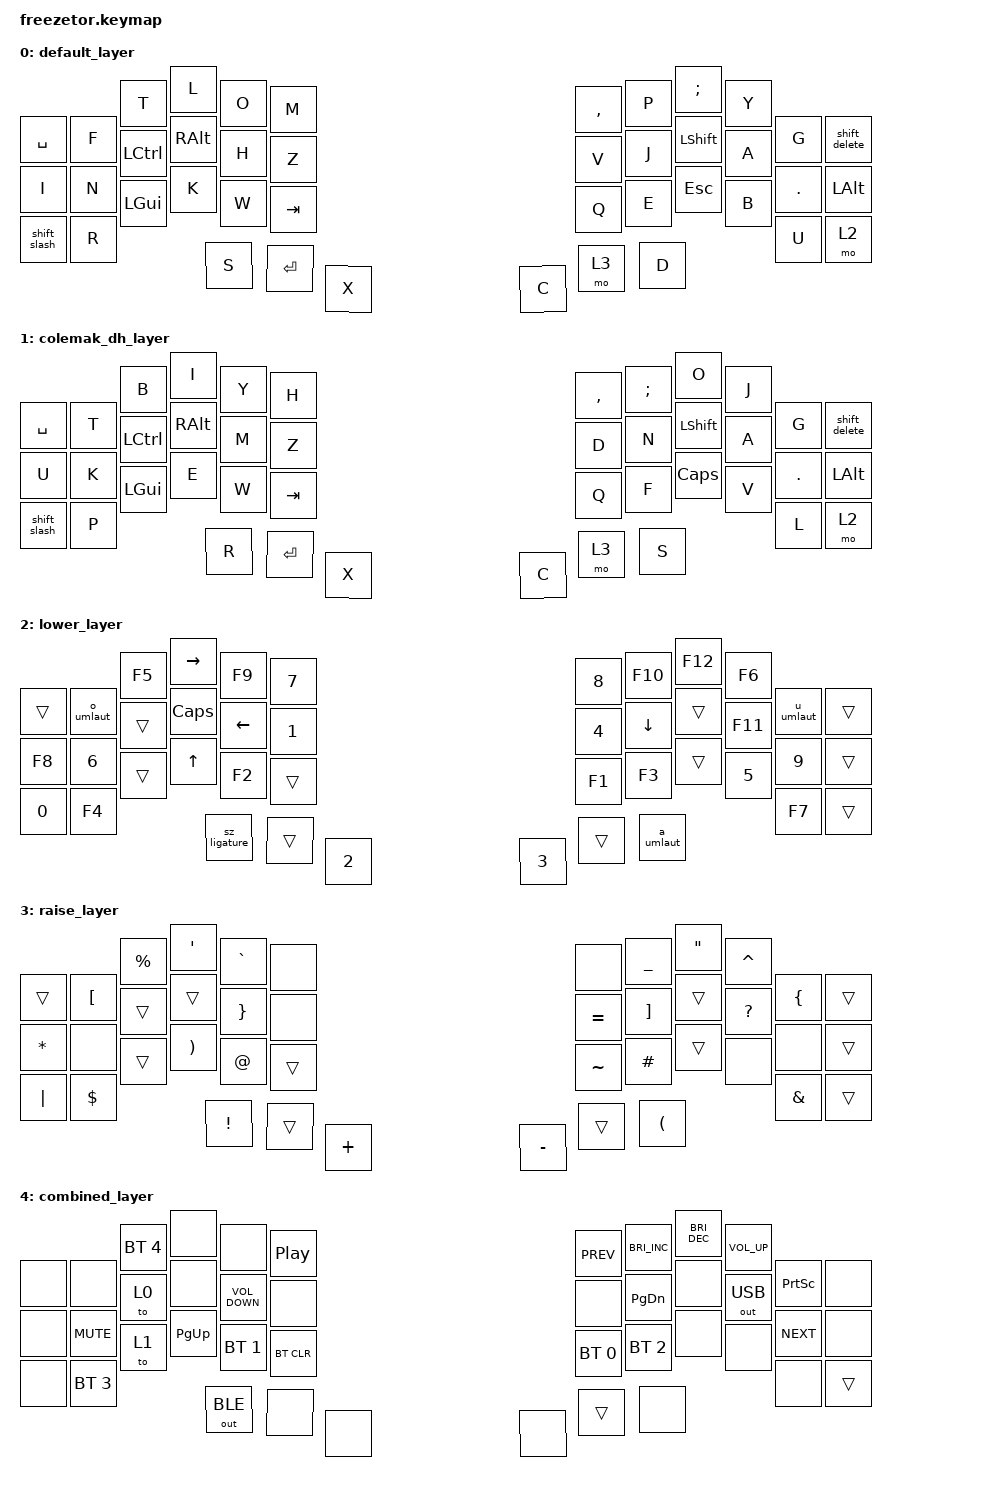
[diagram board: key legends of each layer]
/*
 * Copyright (c) 2020 The ZMK Contributors
 *
 * SPDX-License-Identifier: MIT
 */

#include <behaviors.dtsi>
#include <dt-bindings/zmk/bt.h>
#include <dt-bindings/zmk/outputs.h>
#include <dt-bindings/zmk/keys.h>

/ {

    behaviors {
        shift_delete: shift_delete {
            compatible = "zmk,behavior-mod-morph";
            label = "SHIFT_DELETE";
            bindings = <&kp BACKSPACE>, <&kp DELETE>;

            #binding-cells = <0>;
            mods = <(MOD_LSFT)>;
        };

        shift_slash: shift_slash {
            compatible = "zmk,behavior-mod-morph";
            label = "SHIFT_SLASH";
            bindings = <&kp FSLH>, <&kp BSLH>;

            #binding-cells = <0>;
            mods = <(MOD_LSFT)>;
        };
    };

    macros {
        a_umlaut: a_umlaut {
            compatible = "zmk,behavior-macro";
            label = "A_UMLAUT";
            #binding-cells = <0>;
            bindings = <&kp RA(Q)>;
        };

        u_umlaut: u_umlaut {
            compatible = "zmk,behavior-macro";
            label = "U_UMLAUT";
            #binding-cells = <0>;
            bindings = <&kp RA(Y)>;
        };

        o_umlaut: o_umlaut {
            compatible = "zmk,behavior-macro";
            label = "O_UMLAUT";
            #binding-cells = <0>;
            bindings = <&kp RA(P)>;
        };

        sz_ligature: sz_ligature {
            compatible = "zmk,behavior-macro";
            label = "SZ_LIGATURE";
            #binding-cells = <0>;
            bindings = <&kp RA(S)>;
        };
    };

    keymap {
        compatible = "zmk,keymap";

        default_layer {
            // -----------------------------------------------------------------------------------------
            // |  TAB |  Q  |  W  |  E  |  R  |  T  |   |  Y  |  U   |  I  |  O  |  P  | LALT |
            // | CTRL |  A  |  S  |  D  |  F  |  G  |   |  H  |  J   |  K  |  L  |  ;  | CAPS |
            // | GUI  |  Z  |  X  |  C  |  V  |  B  |   |  N  |  M   |  ,  |  .  |  /  | RALT |
            //                    | SHFT| LWR | SPC |   | ENT | RSE  | BSPC|

            bindings = <
&kp TAB     &kp Q  &kp W      &kp E    &kp R  &kp T          &kp Y  &kp U  &kp I      &kp O    &kp P         &kp LEFT_ALT
&kp LCTRL   &kp A  &kp S      &kp D    &kp F  &kp G          &kp H  &kp J  &kp K      &kp L    &kp SEMI      &kp ESC
&kp LGUI    &kp Z  &kp X      &kp C    &kp V  &kp B          &kp N  &kp M  &kp COMMA  &kp DOT  &shift_slash  &kp RIGHT_ALT
&kp LSHIFT  &mo 2  &kp SPACE  &kp RET  &mo 3  &shift_delete
            >;
        };

        colemak_dh_layer {
            // -----------------------------------------------------------------------------------------
            // |  TAB |  Q  |  W  |  F  |  P  |  B  |   |  J  |  L   |  U  |  Y  |  ;  | LALT |
            // | CTRL |  A  |  R  |  S  |  T  |  G  |   |  M  |  N   |  E  |  I  |  O  | CAPS |
            // | GUI  |  Z  |  X  |  C  |  D  |  V  |   |  K  |  H   |  ,  |  .  |  /  | RALT |
            //                    | SHFT| LWR | SPC |   | ENT | RSE  | BSPC|

            bindings = <
&kp TAB     &kp Q  &kp W      &kp F    &kp P  &kp B          &kp J  &kp L  &kp U      &kp Y    &kp SEMI      &kp LEFT_ALT
&kp LCTRL   &kp A  &kp R      &kp S    &kp T  &kp G          &kp M  &kp N  &kp E      &kp I    &kp O         &kp CAPS
&kp LGUI    &kp Z  &kp X      &kp C    &kp D  &kp V          &kp K  &kp H  &kp COMMA  &kp DOT  &shift_slash  &kp RIGHT_ALT
&kp LSHIFT  &mo 2  &kp SPACE  &kp RET  &mo 3  &shift_delete
            >;
        };

        lower_layer {
            // -----------------------------------------------------------------------------------------
            // |  TAB |  1  |  2  |  3  |  4  |  5  |   |  6  |  7  |  8  |  9  |  0  | BSPC |
            // | BTCLR| BT1 | BT2 | BT3 | BT4 | BT5 |   | LFT | DWN |  UP | RGT |     |      |
            // | SHFT |     |     |     |     |     |   |     |     |     |     |     |      |
            //                    | GUI |     | SPC |   | ENT |     | ALT |

            bindings = <
&trans  &kp F1   &kp F2        &kp F3     &kp F4     &kp F5     &kp F6    &kp F7    &kp F8  &kp F9     &kp F10  &trans
&trans  &kp F11  &sz_ligature  &a_umlaut  &o_umlaut  &u_umlaut  &kp LEFT  &kp DOWN  &kp UP  &kp RIGHT  &kp F12  &trans
&trans  &kp N1   &kp N2        &kp N3     &kp N4     &kp N5     &kp N6    &kp N7    &kp N8  &kp N9     &kp N0   &kp CAPSLOCK
&trans  &trans   &trans        &trans     &trans     &trans
            >;
        };

        raise_layer {
            // -----------------------------------------------------------------------------------------
            // |  TAB |  !  |  @  |  #  |  $  |  %  |   |  ^  |  &  |  *  |  (  |  )  | BSPC |
            // | CTRL |     |     |     |     |     |   |  -  |  =  |  [  |  ]  |  \  |  `   |
            // | SHFT |     |     |     |     |     |   |  _  |  +  |  {  |  }  | "|" |  ~   |
            //                    | GUI |     | SPC |   | ENT |     | ALT |

            bindings = <
&trans  &kp TILDE     &kp AT    &kp HASH              &kp DLLR          &kp PRCNT       &kp CARET        &kp AMPS           &kp ASTRK              &kp GRAVE         &kp UNDERSCORE     &trans
&trans  &kp QUESTION  &kp EXCL  &kp LEFT_PARENTHESIS  &kp LEFT_BRACKET  &kp LEFT_BRACE  &kp RIGHT_BRACE  &kp RIGHT_BRACKET  &kp RIGHT_PARENTHESIS  &kp SINGLE_QUOTE  &kp DOUBLE_QUOTES  &trans
&trans  &none         &kp PLUS  &kp MINUS             &kp EQUAL         &none           &none            &none              &none                  &none             &kp PIPE           &trans
&trans  &trans        &trans    &trans                &trans            &trans
            >;
        };

        combined_layer {
            // | BTCLR| BT0 | BT1 | BT2 | BT3 | BT4 |   | VOL+ |      |      |      | BRI+ |     |
            // | TO 0 | USB | BLE |     |     | PSCR|   | VOL- | PGDN | PGUP |     | BRI- |     |
            bindings = <
&bt BT_CLR  &bt BT_SEL 0  &bt BT_SEL 1  &bt BT_SEL 2  &bt BT_SEL 3  &bt BT_SEL 4     &kp C_VOLUME_UP    &none             &none        &none       &kp C_BRIGHTNESS_INC  &none
&to 0       &out OUT_USB  &out OUT_BLE  &none         &none         &kp PRINTSCREEN  &kp C_VOLUME_DOWN  &kp PAGE_DOWN     &kp PAGE_UP  &none       &kp C_BRIGHTNESS_DEC  &none
&to 1       &none         &none         &none         &none         &none            &kp K_MUTE         &kp C_PLAY_PAUSE  &kp C_PREV   &kp C_NEXT  &none                 &none
&none       &trans        &none         &none         &trans        &none
            >;
        };
    };

    conditional_layers {
        compatible = "zmk,conditional-layers";

        bothPressed {
            if-layers = <2 3>;
            then-layer = <4>;
        };
    };
};
